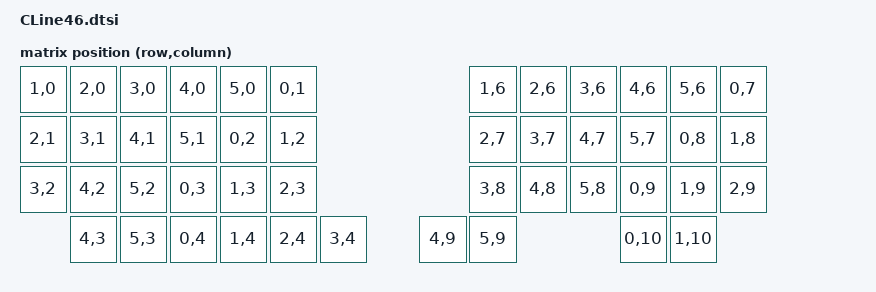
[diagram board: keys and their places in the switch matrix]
#include <dt-bindings/zmk/matrix_transform.h>
#include <physical_layouts.dtsi>
#include <input/processors.dtsi>
#include <dt-bindings/zmk/input_transform.h>

/ {
    chosen {
        zmk,physical-layout = &cline46_physical_layout;
        zmk,battery = &non_lipo_battery;
    };

    cline46_physical_layout: cline46_physical_layout {
        compatible = "zmk,physical-layout";
        display-name = "Default";
        transform = <&default_transform>;
        kscan = <&kscan0>;

        keys  //                     w   h    x    y     rot    rx    ry
            = <&key_physical_attrs 100 100    0    0       0     0     0>
            , <&key_physical_attrs 100 100  100    0       0     0     0>
            , <&key_physical_attrs 100 100  200    0       0     0     0>
            , <&key_physical_attrs 100 100  300    0       0     0     0>
            , <&key_physical_attrs 100 100  400    0       0     0     0>
            , <&key_physical_attrs 100 100  500    0       0     0     0>
            , <&key_physical_attrs 100 100  900    0       0     0     0>
            , <&key_physical_attrs 100 100 1000    0       0     0     0>
            , <&key_physical_attrs 100 100 1100    0       0     0     0>
            , <&key_physical_attrs 100 100 1200    0       0     0     0>
            , <&key_physical_attrs 100 100 1300    0       0     0     0>
            , <&key_physical_attrs 100 100 1400    0       0     0     0>
        

            , <&key_physical_attrs 100 100    0    100     0     0     0>
            , <&key_physical_attrs 100 100  100    100     0     0     0>
            , <&key_physical_attrs 100 100  200    100     0     0     0>
            , <&key_physical_attrs 100 100  300    100     0     0     0>
            , <&key_physical_attrs 100 100  400    100     0     0     0>
            , <&key_physical_attrs 100 100  500    100     0     0     0>
            , <&key_physical_attrs 100 100  900    100     0     0     0>
            , <&key_physical_attrs 100 100 1000    100     0     0     0>
            , <&key_physical_attrs 100 100 1100    100     0     0     0>
            , <&key_physical_attrs 100 100 1200    100     0     0     0>
            , <&key_physical_attrs 100 100 1300    100     0     0     0>
            , <&key_physical_attrs 100 100 1400    100     0     0     0>

            , <&key_physical_attrs 100 100    0    200     0     0     0>
            , <&key_physical_attrs 100 100  100    200     0     0     0>
            , <&key_physical_attrs 100 100  200    200     0     0     0>
            , <&key_physical_attrs 100 100  300    200     0     0     0>
            , <&key_physical_attrs 100 100  400    200     0     0     0>
            , <&key_physical_attrs 100 100  500    200     0     0     0>
            , <&key_physical_attrs 100 100  900    200     0     0     0>
            , <&key_physical_attrs 100 100 1000    200     0     0     0>
            , <&key_physical_attrs 100 100 1100    200     0     0     0>
            , <&key_physical_attrs 100 100 1200    200     0     0     0>
            , <&key_physical_attrs 100 100 1300    200     0     0     0>
            , <&key_physical_attrs 100 100 1400    200     0     0     0>

            , <&key_physical_attrs 100 100  100    300     0     0     0>
            , <&key_physical_attrs 100 100  200    300     0     0     0>
            , <&key_physical_attrs 100 100  300    300     0     0     0>
            , <&key_physical_attrs 100 100  400    300     0     0     0>
            , <&key_physical_attrs 100 100  500    300     0     0     0>
            , <&key_physical_attrs 100 100  600    300     0     0     0>
            , <&key_physical_attrs 100 100  800    300     0     0     0>
            , <&key_physical_attrs 100 100  900    300     0     0     0>
            , <&key_physical_attrs 100 100 1200    300     0     0     0>
            , <&key_physical_attrs 100 100 1300    300     0     0     0>
            ;
    };

    default_transform: keymap_transform_0 {
        compatible = "zmk,matrix-transform";
        //columns = <11>;
        //rows = <6>;
        columns = <12>;
        rows = <4>;
        map = <
            RC(1,0) RC(2,0) RC(3,0) RC(4,0) RC(5,0) RC(0,1)                  RC(1,6) RC(2,6) RC(3,6) RC(4,6)  RC(5,6) RC(0,7)
            RC(2,1) RC(3,1) RC(4,1) RC(5,1) RC(0,2) RC(1,2)                  RC(2,7) RC(3,7) RC(4,7) RC(5,7)  RC(0,8) RC(1,8)
            RC(3,2) RC(4,2) RC(5,2) RC(0,3) RC(1,3) RC(2,3)                  RC(3,8) RC(4,8) RC(5,8) RC(0,9)  RC(1,9) RC(2,9)
                    RC(4,3) RC(5,3) RC(0,4) RC(1,4) RC(2,4) RC(3,4)  RC(4,9) RC(5,9)                 RC(0,10) RC(1,10)  
        >;
    };

    kscan0: kscan {
        compatible = "zmk,kscan-gpio-charlieplex";
        gpios
        = <&xiao_d 2 (GPIO_ACTIVE_HIGH)>
        , <&xiao_d 3 (GPIO_ACTIVE_HIGH)>
        , <&xiao_d 4 (GPIO_ACTIVE_HIGH)>
        , <&xiao_d 5 (GPIO_ACTIVE_HIGH)>
        , <&xiao_d 6 (GPIO_ACTIVE_HIGH)>
        , <&xiao_d 7 (GPIO_ACTIVE_HIGH)>
        ;
        wakeup-source;
        interrupt-gpios = <&xiao_d 1 (GPIO_ACTIVE_HIGH | GPIO_PULL_DOWN)>;
    };

    trackball_listener: trackball_listener {
        compatible = "zmk,input-listener";
        status = "disabled";
    };

    // ROBA準拠のオートマウス用 temp-layer
    //   require-prior-idle-ms=300 : 直前300ms以内に打鍵があれば発火しない (タイピング中の誤爆防止)
    //   excluded-positions=<19 21>: J(19)/L(21) のみレイヤー維持 → MOUSE層のMB1/MB2と一致
    //                               それ以外のキー押下で即レイヤー脱出する
    mouse_temp_layer: mouse_temp_layer {
        compatible = "zmk,input-processor-temp-layer";
        #input-processor-cells = <2>;
        require-prior-idle-ms = <300>;
        excluded-positions = <19 21>;
    };

    vbatt: vbatt {
        // Disable default battery monitoring
        status = "disabled";
    };
    non_lipo_battery: non_lipo_battery {
        compatible = "zmk,non-lipo-battery";
        io-channels = <&adc 0>;  // Replace with your ADC channel number
        
        // Optional: Power control GPIO for the voltage divider
        //power-gpios = <&gpio0 3 GPIO_ACTIVE_HIGH>;  // Replace with your GPIO
    };
};

&adc {
    status = "okay";
};

&spi0 {
    status = "disabled";

    trackball: trackball@0 {
        status = "disabled";
        reg = <0>;
    };
};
